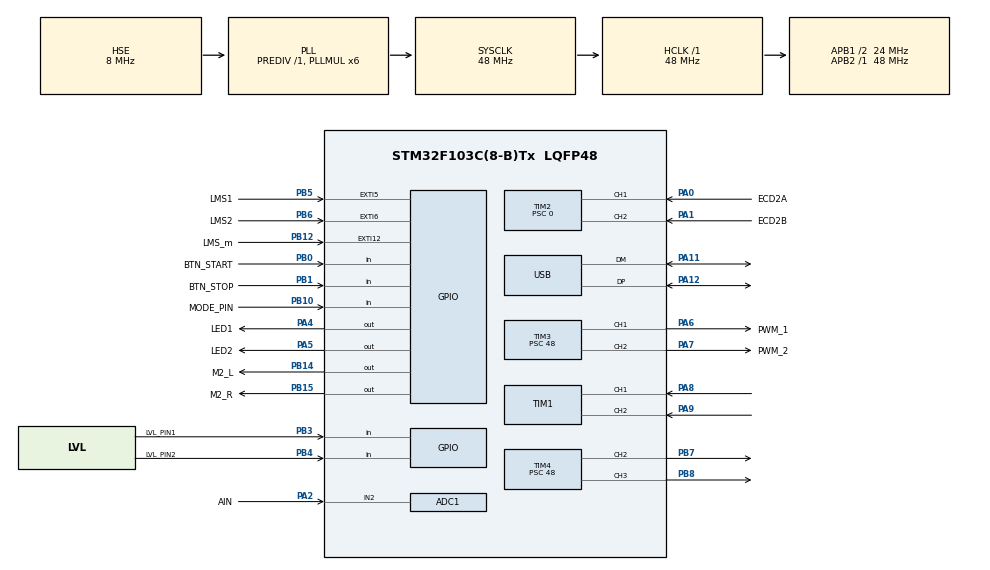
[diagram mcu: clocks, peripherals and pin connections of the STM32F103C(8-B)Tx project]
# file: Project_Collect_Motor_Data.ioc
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ADC1.Channel-0\#ChannelRegularConversion=ADC_CHANNEL_2
ADC1.ContinuousConvMode=ENABLE
ADC1.NbrOfConversionFlag=1
ADC1.Rank-0\#ChannelRegularConversion=1
ADC1.SamplingTime-0\#ChannelRegularConversion=ADC_SAMPLETIME_239CYCLES_5
ADC1.master=1
Mcu.Family=STM32F1
Mcu.Name=STM32F103C(8-B)Tx
Mcu.Package=LQFP48
NVIC.ADC1_2_IRQn=true\:0\:0\:false\:false\:true\:true\:true\:true
NVIC.EXTI15_10_IRQn=true\:2\:0\:true\:false\:true\:true\:true\:true
NVIC.EXTI9_5_IRQn=true\:2\:0\:true\:false\:true\:true\:true\:true
NVIC.PriorityGroup=NVIC_PRIORITYGROUP_4
NVIC.TIM4_IRQn=true\:1\:0\:true\:false\:true\:true\:true\:true
NVIC.USB_LP_CAN1_RX0_IRQn=true\:0\:0\:false\:false\:true\:false\:true\:true
PA0-WKUP.GPIO_Label=ECD2A
PA0-WKUP.Signal=S_TIM2_CH1_ETR
PA1.GPIO_Label=ECD2B
PA1.Signal=S_TIM2_CH2
PA11.Mode=Device
PA11.Signal=USB_DM
PA12.Mode=Device
PA12.Signal=USB_DP
PA13.Mode=Serial_Wire
PA13.Signal=SYS_JTMS-SWDIO
PA14.Mode=Serial_Wire
PA14.Signal=SYS_JTCK-SWCLK
PA2.GPIO_Label=AIN
PA2.Signal=ADCx_IN2
PA4.GPIO_Label=LED1
PA4.Signal=GPIO_Output
PA5.GPIO_Label=LED2
PA5.Signal=GPIO_Output
PA6.GPIO_Label=PWM_1
PA6.Signal=S_TIM3_CH1
PA7.GPIO_Label=PWM_2
PA7.Signal=S_TIM3_CH2
PA8.Signal=S_TIM1_CH1
PA9.Signal=S_TIM1_CH2
PB0.GPIO_Label=BTN_START
PB0.GPIO_PuPd=GPIO_PULLUP
PB0.Signal=GPIO_Input
PB1.GPIO_Label=BTN_STOP
PB1.GPIO_PuPd=GPIO_PULLUP
PB1.Signal=GPIO_Input
PB10.GPIO_Label=MODE_PIN
PB10.GPIO_PuPd=GPIO_PULLUP
PB10.Signal=GPIO_Input
PB12.GPIO_Label=LMS_m
PB12.GPIO_ModeDefaultEXTI=GPIO_MODE_IT_RISING_FALLING
PB12.GPIO_PuPd=GPIO_PULLUP
PB12.Signal=GPXTI12
PB14.GPIO_Label=M2_L
PB14.Signal=GPIO_Output
PB15.GPIO_Label=M2_R
PB15.Signal=GPIO_Output
PB3.GPIO_Label=LVL_PIN1
PB3.GPIO_PuPd=GPIO_PULLUP
PB3.Signal=GPIO_Input
PB4.GPIO_Label=LVL_PIN2
PB4.GPIO_PuPd=GPIO_PULLUP
PB4.Signal=GPIO_Input
PB5.GPIO_Label=LMS1
PB5.GPIO_ModeDefaultEXTI=GPIO_MODE_IT_RISING_FALLING
PB5.GPIO_PuPd=GPIO_PULLUP
PB5.Signal=GPXTI5
PB6.GPIO_Label=LMS2
PB6.GPIO_ModeDefaultEXTI=GPIO_MODE_IT_RISING_FALLING
PB6.GPIO_PuPd=GPIO_PULLUP
PB6.Signal=GPXTI6
PB7.Signal=S_TIM4_CH2
PB8.Signal=S_TIM4_CH3
PD0-OSC_IN.GPIO_Label=OSC1
PD0-OSC_IN.Mode=HSE-External-Oscillator
PD0-OSC_IN.Signal=RCC_OSC_IN
PD1-OSC_OUT.GPIO_Label=OSC2
PD1-OSC_OUT.Mode=HSE-External-Oscillator
PD1-OSC_OUT.Signal=RCC_OSC_OUT
ProjectManager.HeapSize=0x200
ProjectManager.StackSize=0x400
ProjectManager.TargetToolchain=STM32CubeIDE
RCC.ADCPresc=RCC_ADCPCLK2_DIV4
RCC.AHBFreq_Value=48000000
RCC.APB1CLKDivider=RCC_HCLK_DIV2
RCC.APB1Freq_Value=24000000
RCC.APB1TimFreq_Value=48000000
RCC.APB2Freq_Value=48000000
RCC.APB2TimFreq_Value=48000000
RCC.HCLKFreq_Value=48000000
RCC.PLLMUL=RCC_PLL_MUL6
RCC.SYSCLKFreq_VALUE=48000000
RCC.SYSCLKSource=RCC_SYSCLKSOURCE_PLLCLK
RCC.USBFreq_Value=48000000
SH.ADCx_IN2.0=ADC1_IN2,IN2
SH.S_TIM1_CH1.0=TIM1_CH1,Encoder_Interface
SH.S_TIM1_CH2.0=TIM1_CH2,Encoder_Interface
SH.S_TIM2_CH1_ETR.0=TIM2_CH1,Encoder_Interface
SH.S_TIM2_CH2.0=TIM2_CH2,Encoder_Interface
SH.S_TIM3_CH1.0=TIM3_CH1,PWM Generation1 CH1
SH.S_TIM3_CH2.0=TIM3_CH2,PWM Generation2 CH2
SH.S_TIM4_CH2.0=TIM4_CH2,PWM Generation2 CH2
SH.S_TIM4_CH3.0=TIM4_CH3,PWM Generation3 CH3
TIM1.AutoReloadPreload=TIM_AUTORELOAD_PRELOAD_ENABLE
TIM1.EncoderMode=TIM_ENCODERMODE_TI12
TIM1.IC1Filter=10
TIM1.IC2Filter=10
TIM2.AutoReloadPreload=TIM_AUTORELOAD_PRELOAD_ENABLE
TIM2.EncoderMode=TIM_ENCODERMODE_TI12
TIM2.IC1Filter=10
TIM2.IC2Filter=10
TIM2.Period=65535
TIM2.Prescaler=0
TIM3.AutoReloadPreload=TIM_AUTORELOAD_PRELOAD_ENABLE
TIM3.Channel-PWM\ Generation1\ CH1=TIM_CHANNEL_1
TIM3.Channel-PWM\ Generation2\ CH2=TIM_CHANNEL_2
TIM3.Period=499
TIM3.Prescaler=48
TIM4.AutoReloadPreload=TIM_AUTORELOAD_PRELOAD_ENABLE
TIM4.Channel-PWM\ Generation2\ CH2=TIM_CHANNEL_2
TIM4.Channel-PWM\ Generation3\ CH3=TIM_CHANNEL_3
TIM4.Period=999
TIM4.Prescaler=48
USB_DEVICE.APP_RX_DATA_SIZE=64
USB_DEVICE.APP_TX_DATA_SIZE=64
USB_DEVICE.CLASS_NAME_FS=CDC
USB_DEVICE.VirtualMode=Cdc
USB_DEVICE.VirtualModeFS=Cdc_FS
VP_TIM4_VS_ClockSourceINT.Mode=Internal
VP_USB_DEVICE_VS_USB_DEVICE_CDC_FS.Mode=CDC_FS
board=custom

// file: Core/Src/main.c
/* USER CODE BEGIN Header */
/**
 ******************************************************************************
 * @file           : main.c
 * @brief          : Main program body
 ******************************************************************************
 * @attention
 *
 * Copyright (c) 2022 STMicroelectronics.
 * All rights reserved.
 *
 * This software is licensed under terms that can be found in the LICENSE file
 * in the root directory of this software component.
 * If no LICENSE file comes with this software, it is provided AS-IS.
 *
 ******************************************************************************
 */
/* USER CODE END Header */
#include "main.h"
#include "usb_device.h"

/* USER CODE BEGIN Includes */
#include "user_func.h"
#include "BUTTON.h"

/* USER CODE END Includes */

ADC_HandleTypeDef hadc1;

TIM_HandleTypeDef htim1;
TIM_HandleTypeDef htim2;
TIM_HandleTypeDef htim3;
TIM_HandleTypeDef htim4;

/* USER CODE BEGIN PV */
typedef enum {
  RUN = 0, IDLE = 1
} State;
State state = 0;

Button BTN_START, BTN_STOP, MODE, LVL1, LVL2;

int32_t TIM1_CNT = 0, TIM2_CNT = 0;
/* USER CODE END PV */

void SystemClock_Config(void);
static void MX_GPIO_Init(void);
static void MX_TIM1_Init(void);
static void MX_TIM2_Init(void);
static void MX_TIM3_Init(void);
static void MX_TIM4_Init(void);
static void MX_ADC1_Init(void);

int main(void)
{

  /* MCU Configuration--------------------------------------------------------*/

  /* Reset of all peripherals, Initializes the Flash interface and the Systick. */
  HAL_Init();

  /* Configure the system clock */
  SystemClock_Config();

  /* Initialize all configured peripherals */
  MX_GPIO_Init();
  MX_TIM1_Init();
  MX_TIM2_Init();
  MX_TIM3_Init();
  MX_TIM4_Init();
  MX_USB_DEVICE_Init();
  MX_ADC1_Init();
  /* USER CODE BEGIN 2 */

  // Motor1 on
  //Motor2 default direction
  set_motor2_dir(0);

  // For encoders
  HAL_TIM_Encoder_Start(&htim1, TIM_CHANNEL_ALL);
  HAL_TIM_Encoder_Start(&htim2, TIM_CHANNEL_ALL);

  // For PWM
  HAL_TIM_PWM_Start(&htim4, TIM_CHANNEL_2);
  HAL_TIM_PWM_Start(&htim4, TIM_CHANNEL_3);
  HAL_TIM_PWM_Start(&htim3, TIM_CHANNEL_2);

  // For ADC
  HAL_ADCEx_Calibration_Start(&hadc1);
  HAL_ADC_Start_IT(&hadc1);

  // For buttons
  buttonInit(&BTN_START, BTN_START_GPIO_Port, BTN_START_Pin);
  buttonInit(&BTN_STOP, BTN_STOP_GPIO_Port, BTN_STOP_Pin);

  buttonInit(&MODE, MODE_PIN_GPIO_Port, MODE_PIN_Pin);
  buttonInit(&LVL1, LVL_PIN1_GPIO_Port, LVL_PIN1_Pin);
  buttonInit(&LVL2, LVL_PIN2_GPIO_Port, LVL_PIN2_Pin);

  // Main run
  state = MODE.state;

  if (state == RUN)
	active_run();
  else
	active_idle();

  /* USER CODE END 2 */

  /* Infinite loop */
  while (1) {

    /* USER CODE BEGIN 3 */

	state = buttonRead(&MODE);
	if (MODE.hasChanged) {
	  if (state == RUN)
		active_run();
	  else
		active_idle();
	  MODE.hasChanged = false;
	}
	apply_state();
	TIM1_CNT = TIM1->CNT;
	TIM2_CNT = TIM2->CNT;

  }
  /* USER CODE END 3 */
}

void SystemClock_Config(void)
{
  RCC_OscInitTypeDef RCC_OscInitStruct = {0};
  RCC_ClkInitTypeDef RCC_ClkInitStruct = {0};
  RCC_PeriphCLKInitTypeDef PeriphClkInit = {0};

  /** Initializes the RCC Oscillators according to the specified parameters
  * in the RCC_OscInitTypeDef structure.
  */
  RCC_OscInitStruct.OscillatorType = RCC_OSCILLATORTYPE_HSE;
  RCC_OscInitStruct.HSEState = RCC_HSE_ON;
  RCC_OscInitStruct.HSEPredivValue = RCC_HSE_PREDIV_DIV1;
  RCC_OscInitStruct.HSIState = RCC_HSI_ON;
  RCC_OscInitStruct.PLL.PLLState = RCC_PLL_ON;
  RCC_OscInitStruct.PLL.PLLSource = RCC_PLLSOURCE_HSE;
  RCC_OscInitStruct.PLL.PLLMUL = RCC_PLL_MUL6;
  if (HAL_RCC_OscConfig(&RCC_OscInitStruct) != HAL_OK)
  {
    Error_Handler();
  }

  /** Initializes the CPU, AHB and APB buses clocks
  */
  RCC_ClkInitStruct.ClockType = RCC_CLOCKTYPE_HCLK|RCC_CLOCKTYPE_SYSCLK
                              |RCC_CLOCKTYPE_PCLK1|RCC_CLOCKTYPE_PCLK2;
  RCC_ClkInitStruct.SYSCLKSource = RCC_SYSCLKSOURCE_PLLCLK;
  RCC_ClkInitStruct.AHBCLKDivider = RCC_SYSCLK_DIV1;
  RCC_ClkInitStruct.APB1CLKDivider = RCC_HCLK_DIV2;
  RCC_ClkInitStruct.APB2CLKDivider = RCC_HCLK_DIV1;

  if (HAL_RCC_ClockConfig(&RCC_ClkInitStruct, FLASH_LATENCY_1) != HAL_OK)
  {
    Error_Handler();
  }
  PeriphClkInit.PeriphClockSelection = RCC_PERIPHCLK_ADC|RCC_PERIPHCLK_USB;
  PeriphClkInit.AdcClockSelection = RCC_ADCPCLK2_DIV4;
  PeriphClkInit.UsbClockSelection = RCC_USBCLKSOURCE_PLL;
  if (HAL_RCCEx_PeriphCLKConfig(&PeriphClkInit) != HAL_OK)
  {
    Error_Handler();
  }
}

static void MX_ADC1_Init(void)
{

  ADC_ChannelConfTypeDef sConfig = {0};

  /** Common config
  */
  hadc1.Instance = ADC1;
  hadc1.Init.ScanConvMode = ADC_SCAN_DISABLE;
  hadc1.Init.ContinuousConvMode = ENABLE;
  hadc1.Init.DiscontinuousConvMode = DISABLE;
  hadc1.Init.ExternalTrigConv = ADC_SOFTWARE_START;
  hadc1.Init.DataAlign = ADC_DATAALIGN_RIGHT;
  hadc1.Init.NbrOfConversion = 1;
  if (HAL_ADC_Init(&hadc1) != HAL_OK)
  {
    Error_Handler();
  }

  /** Configure Regular Channel
  */
  sConfig.Channel = ADC_CHANNEL_2;
  sConfig.Rank = ADC_REGULAR_RANK_1;
  sConfig.SamplingTime = ADC_SAMPLETIME_239CYCLES_5;
  if (HAL_ADC_ConfigChannel(&hadc1, &sConfig) != HAL_OK)
  {
    Error_Handler();
  }

}

static void MX_TIM1_Init(void)
{

  TIM_Encoder_InitTypeDef sConfig = {0};
  TIM_MasterConfigTypeDef sMasterConfig = {0};

  htim1.Instance = TIM1;
  htim1.Init.Prescaler = 0;
  htim1.Init.CounterMode = TIM_COUNTERMODE_UP;
  htim1.Init.Period = 65535;
  htim1.Init.ClockDivision = TIM_CLOCKDIVISION_DIV1;
  htim1.Init.RepetitionCounter = 0;
  htim1.Init.AutoReloadPreload = TIM_AUTORELOAD_PRELOAD_ENABLE;
  sConfig.EncoderMode = TIM_ENCODERMODE_TI12;
  sConfig.IC1Polarity = TIM_ICPOLARITY_RISING;
  sConfig.IC1Selection = TIM_ICSELECTION_DIRECTTI;
  sConfig.IC1Prescaler = TIM_ICPSC_DIV1;
  sConfig.IC1Filter = 10;
  sConfig.IC2Polarity = TIM_ICPOLARITY_RISING;
  sConfig.IC2Selection = TIM_ICSELECTION_DIRECTTI;
  sConfig.IC2Prescaler = TIM_ICPSC_DIV1;
  sConfig.IC2Filter = 10;
  if (HAL_TIM_Encoder_Init(&htim1, &sConfig) != HAL_OK)
  {
    Error_Handler();
  }
  sMasterConfig.MasterOutputTrigger = TIM_TRGO_RESET;
  sMasterConfig.MasterSlaveMode = TIM_MASTERSLAVEMODE_DISABLE;
  if (HAL_TIMEx_MasterConfigSynchronization(&htim1, &sMasterConfig) != HAL_OK)
  {
    Error_Handler();
  }

}

static void MX_TIM2_Init(void)
{

  TIM_Encoder_InitTypeDef sConfig = {0};
  TIM_MasterConfigTypeDef sMasterConfig = {0};

  htim2.Instance = TIM2;
  htim2.Init.Prescaler = 0;
  htim2.Init.CounterMode = TIM_COUNTERMODE_UP;
  htim2.Init.Period = 65535;
  htim2.Init.ClockDivision = TIM_CLOCKDIVISION_DIV1;
  htim2.Init.AutoReloadPreload = TIM_AUTORELOAD_PRELOAD_ENABLE;
  sConfig.EncoderMode = TIM_ENCODERMODE_TI12;
  sConfig.IC1Polarity = TIM_ICPOLARITY_RISING;
  sConfig.IC1Selection = TIM_ICSELECTION_DIRECTTI;
  sConfig.IC1Prescaler = TIM_ICPSC_DIV1;
  sConfig.IC1Filter = 10;
  sConfig.IC2Polarity = TIM_ICPOLARITY_RISING;
  sConfig.IC2Selection = TIM_ICSELECTION_DIRECTTI;
  sConfig.IC2Prescaler = TIM_ICPSC_DIV1;
  sConfig.IC2Filter = 10;
  if (HAL_TIM_Encoder_Init(&htim2, &sConfig) != HAL_OK)
  {
    Error_Handler();
  }
  sMasterConfig.MasterOutputTrigger = TIM_TRGO_RESET;
  sMasterConfig.MasterSlaveMode = TIM_MASTERSLAVEMODE_DISABLE;
  if (HAL_TIMEx_MasterConfigSynchronization(&htim2, &sMasterConfig) != HAL_OK)
  {
    Error_Handler();
  }

}

static void MX_TIM3_Init(void)
{

  TIM_MasterConfigTypeDef sMasterConfig = {0};
  TIM_OC_InitTypeDef sConfigOC = {0};

  htim3.Instance = TIM3;
  htim3.Init.Prescaler = 48;
  htim3.Init.CounterMode = TIM_COUNTERMODE_UP;
  htim3.Init.Period = 499;
  htim3.Init.ClockDivision = TIM_CLOCKDIVISION_DIV1;
  htim3.Init.AutoReloadPreload = TIM_AUTORELOAD_PRELOAD_ENABLE;
  if (HAL_TIM_PWM_Init(&htim3) != HAL_OK)
  {
    Error_Handler();
  }
  sMasterConfig.MasterOutputTrigger = TIM_TRGO_RESET;
  sMasterConfig.MasterSlaveMode = TIM_MASTERSLAVEMODE_DISABLE;
  if (HAL_TIMEx_MasterConfigSynchronization(&htim3, &sMasterConfig) != HAL_OK)
  {
    Error_Handler();
  }
  sConfigOC.OCMode = TIM_OCMODE_PWM1;
  sConfigOC.Pulse = 0;
  sConfigOC.OCPolarity = TIM_OCPOLARITY_HIGH;
  sConfigOC.OCFastMode = TIM_OCFAST_DISABLE;
  if (HAL_TIM_PWM_ConfigChannel(&htim3, &sConfigOC, TIM_CHANNEL_1) != HAL_OK)
  {
    Error_Handler();
  }
  if (HAL_TIM_PWM_ConfigChannel(&htim3, &sConfigOC, TIM_CHANNEL_2) != HAL_OK)
  {
    Error_Handler();
  }
  HAL_TIM_MspPostInit(&htim3);

}

static void MX_TIM4_Init(void)
{

  TIM_ClockConfigTypeDef sClockSourceConfig = {0};
  TIM_MasterConfigTypeDef sMasterConfig = {0};
  TIM_OC_InitTypeDef sConfigOC = {0};

  htim4.Instance = TIM4;
  htim4.Init.Prescaler = 48;
  htim4.Init.CounterMode = TIM_COUNTERMODE_UP;
  htim4.Init.Period = 999;
  htim4.Init.ClockDivision = TIM_CLOCKDIVISION_DIV1;
  htim4.Init.AutoReloadPreload = TIM_AUTORELOAD_PRELOAD_ENABLE;
  if (HAL_TIM_Base_Init(&htim4) != HAL_OK)
  {
    Error_Handler();
  }
  sClockSourceConfig.ClockSource = TIM_CLOCKSOURCE_INTERNAL;
  if (HAL_TIM_ConfigClockSource(&htim4, &sClockSourceConfig) != HAL_OK)
  {
    Error_Handler();
  }
  if (HAL_TIM_PWM_Init(&htim4) != HAL_OK)
  {
    Error_Handler();
  }
  sMasterConfig.MasterOutputTrigger = TIM_TRGO_RESET;
  sMasterConfig.MasterSlaveMode = TIM_MASTERSLAVEMODE_DISABLE;
  if (HAL_TIMEx_MasterConfigSynchronization(&htim4, &sMasterConfig) != HAL_OK)
  {
    Error_Handler();
  }
  sConfigOC.OCMode = TIM_OCMODE_PWM1;
  sConfigOC.Pulse = 0;
  sConfigOC.OCPolarity = TIM_OCPOLARITY_HIGH;
  sConfigOC.OCFastMode = TIM_OCFAST_DISABLE;
  if (HAL_TIM_PWM_ConfigChannel(&htim4, &sConfigOC, TIM_CHANNEL_2) != HAL_OK)
  {
    Error_Handler();
  }
  if (HAL_TIM_PWM_ConfigChannel(&htim4, &sConfigOC, TIM_CHANNEL_3) != HAL_OK)
  {
    Error_Handler();
  }
  HAL_TIM_MspPostInit(&htim4);

}

static void MX_GPIO_Init(void)
{
  GPIO_InitTypeDef GPIO_InitStruct = {0};

  /* GPIO Ports Clock Enable */
  __HAL_RCC_GPIOC_CLK_ENABLE();
  __HAL_RCC_GPIOD_CLK_ENABLE();
  __HAL_RCC_GPIOA_CLK_ENABLE();
  __HAL_RCC_GPIOB_CLK_ENABLE();

  /*Configure GPIO pin Output Level */
  HAL_GPIO_WritePin(GPIOA, LED1_Pin|LED2_Pin, GPIO_PIN_RESET);

  /*Configure GPIO pin Output Level */
  HAL_GPIO_WritePin(GPIOB, M2_L_Pin|M2_R_Pin, GPIO_PIN_RESET);

  /*Configure GPIO pins : PC13 PC14 PC15 */
  GPIO_InitStruct.Pin = GPIO_PIN_13|GPIO_PIN_14|GPIO_PIN_15;
  GPIO_InitStruct.Mode = GPIO_MODE_ANALOG;
  HAL_GPIO_Init(GPIOC, &GPIO_InitStruct);

  /*Configure GPIO pins : PA3 PA10 PA15 */
  GPIO_InitStruct.Pin = GPIO_PIN_3|GPIO_PIN_10|GPIO_PIN_15;
  GPIO_InitStruct.Mode = GPIO_MODE_ANALOG;
  HAL_GPIO_Init(GPIOA, &GPIO_InitStruct);

  /*Configure GPIO pins : LED1_Pin LED2_Pin */
  GPIO_InitStruct.Pin = LED1_Pin|LED2_Pin;
  GPIO_InitStruct.Mode = GPIO_MODE_OUTPUT_PP;
  GPIO_InitStruct.Pull = GPIO_NOPULL;
  GPIO_InitStruct.Speed = GPIO_SPEED_FREQ_LOW;
  HAL_GPIO_Init(GPIOA, &GPIO_InitStruct);

  /*Configure GPIO pins : BTN_START_Pin BTN_STOP_Pin MODE_PIN_Pin LVL_PIN1_Pin
                           LVL_PIN2_Pin */
  GPIO_InitStruct.Pin = BTN_START_Pin|BTN_STOP_Pin|MODE_PIN_Pin|LVL_PIN1_Pin
                          |LVL_PIN2_Pin;
  GPIO_InitStruct.Mode = GPIO_MODE_INPUT;
  GPIO_InitStruct.Pull = GPIO_PULLUP;
  HAL_GPIO_Init(GPIOB, &GPIO_InitStruct);

  /*Configure GPIO pins : PB2 PB11 PB13 PB9 */
  GPIO_InitStruct.Pin = GPIO_PIN_2|GPIO_PIN_11|GPIO_PIN_13|GPIO_PIN_9;
  GPIO_InitStruct.Mode = GPIO_MODE_ANALOG;
  HAL_GPIO_Init(GPIOB, &GPIO_InitStruct);

  /*Configure GPIO pins : LMS_m_Pin LMS1_Pin LMS2_Pin */
  GPIO_InitStruct.Pin = LMS_m_Pin|LMS1_Pin|LMS2_Pin;
  GPIO_InitStruct.Mode = GPIO_MODE_IT_RISING_FALLING;
  GPIO_InitStruct.Pull = GPIO_PULLUP;
  HAL_GPIO_Init(GPIOB, &GPIO_InitStruct);

  /*Configure GPIO pins : M2_L_Pin M2_R_Pin */
  GPIO_InitStruct.Pin = M2_L_Pin|M2_R_Pin;
  GPIO_InitStruct.Mode = GPIO_MODE_OUTPUT_PP;
  GPIO_InitStruct.Pull = GPIO_NOPULL;
  GPIO_InitStruct.Speed = GPIO_SPEED_FREQ_LOW;
  HAL_GPIO_Init(GPIOB, &GPIO_InitStruct);

  /* EXTI interrupt init*/
  HAL_NVIC_SetPriority(EXTI9_5_IRQn, 2, 0);
  HAL_NVIC_EnableIRQ(EXTI9_5_IRQn);

  HAL_NVIC_SetPriority(EXTI15_10_IRQn, 2, 0);
  HAL_NVIC_EnableIRQ(EXTI15_10_IRQn);

}

void Error_Handler(void)
{
  __disable_irq();
  while (1) {
  }
}
